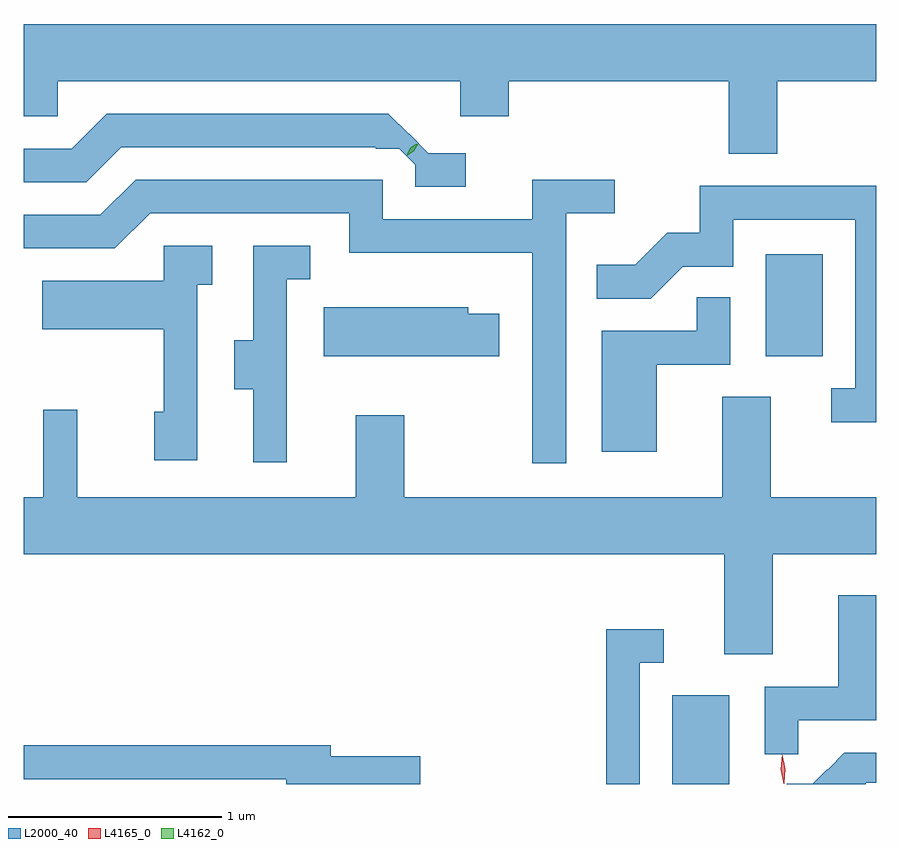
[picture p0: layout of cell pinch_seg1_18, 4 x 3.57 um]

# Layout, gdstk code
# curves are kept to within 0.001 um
import gdstk
lib = gdstk.Library(unit=1e-6, precision=1e-09)
def R(c, l, rs):  # rectangles x0, y0, x1, y1
    for r in rs: c.add(gdstk.rectangle(r[:2], r[2:], *l))
def P(c, l, *ps):  # polygons
    for p in ps: c.add(gdstk.Polygon(p, *l))
L2000_40 = (2000, 40)
L4162_0 = (4162, 0)
L4165_0 = (4165, 0)

pinch_seg1_18 = lib.new_cell('pinch_seg1_18')
R(pinch_seg1_18, L2000_40, [(1763.676,947.338,1763.944,947.754), (1764.116,949.346,1764.384,949.824)])
P(pinch_seg1_18, L2000_40, [(1764.169,950.636),(1764.634,950.636),(1764.634,950.904),(1760.634,950.904),(1760.634,950.471),(1760.794,950.471),(1760.794,950.636),(1762.681,950.636),(1762.681,950.471),(1762.909,950.471),(1762.909,950.636),(1763.941,950.636),(1763.941,950.296),(1764.169,950.296)],
  [(1762.708,950.298),(1762.533,950.298),(1762.345,950.484),(1761.024,950.484),(1760.859,950.319),(1760.634,950.319),(1760.634,950.161),(1760.927,950.161),(1761.092,950.326),(1762.285,950.326),(1762.285,950.319),(1762.396,950.319),(1762.472,950.243),(1762.472,950.141),(1762.708,950.141)],
  [(1763.179,950.016),(1763.408,950.016),(1763.408,950.174),(1763.021,950.174),(1763.021,949.989),(1762.319,949.989),(1762.319,950.174),(1761.159,950.174),(1760.994,950.009),(1760.634,950.009),(1760.634,949.851),(1761.062,949.851),(1761.227,950.016),(1762.161,950.016),(1762.161,949.831),(1763.021,949.831),(1763.021,948.843),(1763.179,948.843)],
  [(1764.634,950.144),(1763.806,950.144),(1763.806,949.924),(1763.654,949.924),(1763.504,949.774),(1763.323,949.774),(1763.323,949.616),(1763.577,949.616),(1763.727,949.766),(1763.964,949.766),(1763.964,949.986),(1764.536,949.986),(1764.536,949.194),(1764.423,949.194),(1764.423,949.036),(1764.634,949.036)],
  [(1761.869,949.706),(1761.978,949.706),(1761.978,949.864),(1761.711,949.864),(1761.711,949.419),(1761.621,949.419),(1761.621,949.191),(1761.711,949.191),(1761.711,948.848),(1761.869,948.848)],
  [(1761.449,949.681),(1761.519,949.681),(1761.519,949.864),(1761.291,949.864),(1761.291,949.699),(1760.721,949.699),(1760.721,949.471),(1761.291,949.471),(1761.291,949.084),(1761.246,949.084),(1761.246,948.856),(1761.449,948.856)],
  [(1763.604,949.306),(1763.949,949.306),(1763.949,949.623),(1763.791,949.623),(1763.791,949.464),(1763.346,949.464),(1763.346,948.896),(1763.604,948.896)],
  [(1762.864,949.544),(1762.719,949.544),(1762.719,949.574),(1762.041,949.574),(1762.041,949.346),(1762.864,949.346)],
  [(1764.149,948.416),(1764.634,948.416),(1764.634,948.684),(1764.139,948.684),(1764.139,949.154),(1763.911,949.154),(1763.911,948.684),(1762.419,948.684),(1762.419,949.069),(1762.191,949.069),(1762.191,948.684),(1760.884,948.684),(1760.884,949.093),(1760.726,949.093),(1760.726,948.684),(1760.634,948.684),(1760.634,948.416),(1763.921,948.416),(1763.921,947.946),(1764.149,947.946)],
  [(1764.269,947.636),(1764.634,947.636),(1764.634,948.224),(1764.456,948.224),(1764.456,947.794),(1764.111,947.794),(1764.111,947.478),(1764.269,947.478)],
  [(1763.524,947.906),(1763.638,947.906),(1763.638,948.064),(1763.366,948.064),(1763.366,947.338),(1763.524,947.338)],
  [(1762.494,947.469),(1762.074,947.469),(1762.074,947.519),(1760.634,947.519),(1760.634,947.361),(1761.866,947.361),(1761.866,947.338),(1762.494,947.338)],
  [(1764.585,947.344),(1764.634,947.344),(1764.634,947.484),(1764.484,947.484),(1764.406,947.406),(1764.404,947.408),(1764.335,947.339),(1764.215,947.339),(1764.215,947.338),(1764.585,947.338)])
P(pinch_seg1_18, L4162_0, [(1762.43,950.286),(1762.43,950.287),(1762.45,950.321),(1762.483,950.342),(1762.484,950.342),(1762.484,950.341),(1762.464,950.307),(1762.431,950.286)],
  [(1762.434,950.293),(1762.434,950.294),(1762.447,950.323),(1762.474,950.34),(1762.475,950.34),(1762.475,950.339),(1762.462,950.31),(1762.434,950.293)])
P(pinch_seg1_18, L4165_0, [(1764.201,947.342),(1764.187,947.407),(1764.192,947.474),(1764.192,947.474),(1764.192,947.474),(1764.207,947.408),(1764.202,947.342),(1764.202,947.342)],
  [(1764.202,947.339),(1764.201,947.34),(1764.187,947.407),(1764.192,947.477),(1764.192,947.477),(1764.192,947.477),(1764.207,947.409),(1764.202,947.34)])

lib.write_gds('pinch_seg1_18.gds')
